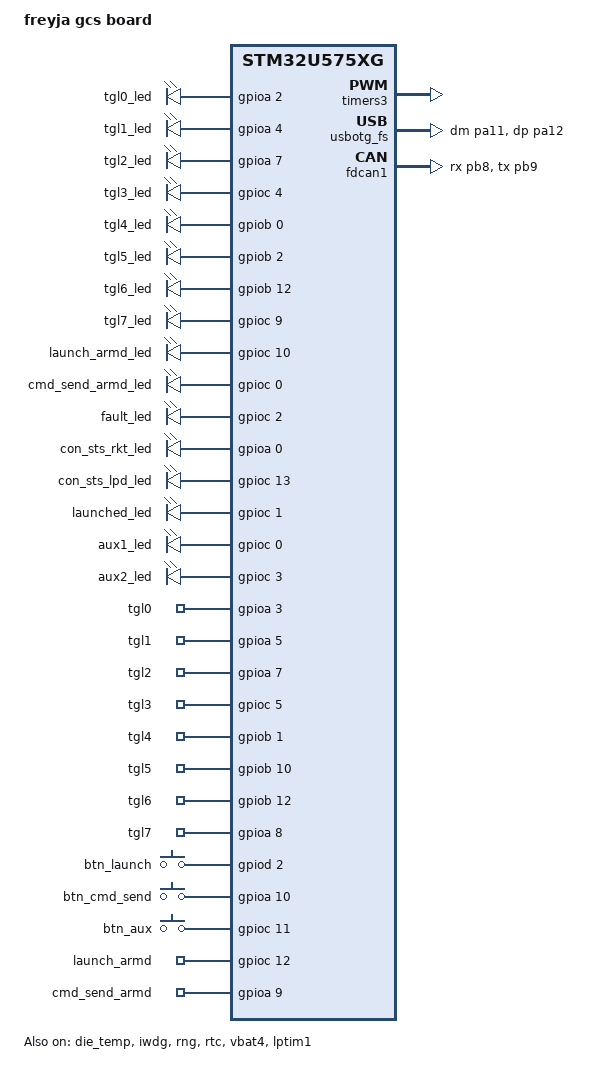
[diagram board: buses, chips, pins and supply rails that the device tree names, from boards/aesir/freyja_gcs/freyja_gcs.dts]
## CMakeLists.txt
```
cmake_minimum_required(VERSION 3.22)

set(BOARD_ROOT ${CMAKE_CURRENT_LIST_DIR})
set(BOARD freyja_gcs)

find_package(Zephyr)

project(freyja_gcs_fw)

target_sources(app PRIVATE 
    src/main.c
    src/usb_com.c
    src/can_com.c
)
```

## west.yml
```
manifest:
  remotes:
    - name: zephyrproject
      url-base: https://github.com/zephyrproject-rtos

  projects:
    - name: zephyr
      remote: zephyrproject
      revision: v4.2.0
      path: ext/zephyr
      west-commands: scripts/west-commands.yml

    - name: cmsis
      remote: zephyrproject
      revision: 512cc7e895e8491696b61f7ba8066b4a182569b8
      path: ext/zephyr/modules/hal/cmsis
    - name: cmsis_6
      remote: zephyrproject
      repo-path: CMSIS_6
      revision: 06d952b6713a2ca41c9224a62075e4059402a151
      path: ext/zephyr/modules/hal/cmsis_6

    - name: hal_stm32
      remote: zephyrproject
      revision: 1e753266ddfb4b07a8a0b1ec566e9637ea45d5ef
      path: ext/zephyr/modules/hal/stm32

  self:
    path: .
    
```

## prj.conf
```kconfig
CONFIG_SERIAL=y
CONFIG_CONSOLE=y
CONFIG_UART_CONSOLE=y
CONFIG_UART_LINE_CTRL=y

CONFIG_LOG=y
CONFIG_LOG_MODE_DEFERRED=y
CONFIG_LOG_PROCESS_TRIGGER_THRESHOLD=1
CONFIG_LOG_BUFFER_SIZE=4096

# Enable USB CDC console
CONFIG_USB_DEVICE_STACK=y
CONFIG_USB_DEVICE_PRODUCT="freyja gcs"
CONFIG_USB_DEVICE_VID=0x6969
CONFIG_USB_DEVICE_PID=0x6969
CONFIG_USB_CDC_ACM=y
CONFIG_USB_DEVICE_INITIALIZE_AT_BOOT=y
CONFIG_USB_CDC_ACM_LOG_LEVEL_DBG=y

CONFIG_CAN=y
CONFIG_CAN_FD_MODE=y

CONFIG_RTC=y
CONFIG_RTC_STM32=y

CONFIG_TEST_RANDOM_GENERATOR=y
```

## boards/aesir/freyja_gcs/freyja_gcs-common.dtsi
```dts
/*
 * Copyright (c) 2021 Linaro Limited
 * Copyright (c) 2024 STMicroelectronics
 *
 * SPDX-License-Identifier: Apache-2.0
 */

#include <st/u5/stm32u575Xi.dtsi>
#include <st/u5/stm32u575zitxq-pinctrl.dtsi>
#include <zephyr/dt-bindings/input/input-event-codes.h>

/ {
	leds: leds {
		compatible = "gpio-leds";

		green_led_1: led_1 {
			gpios = <&gpioc 7 GPIO_ACTIVE_HIGH>;
			label = "User LD1";
		};

		blue_led_1: led_2 {
			gpios = <&gpiob 7 GPIO_ACTIVE_HIGH>;
			label = "User LD2";
		};

		red_led_1: led_3 {
			gpios = <&gpiog 2 GPIO_ACTIVE_HIGH>;
			label = "User LD3";
		};
	};

	gpio_keys {
		compatible = "gpio-keys";

		user_button: button {
			label = "User";
			gpios = <&gpioc 13 GPIO_ACTIVE_HIGH>;
			zephyr,code = <INPUT_KEY_0>;
		};
	};

	pwmleds: pwmleds {
		compatible = "pwm-leds";
		status = "disabled";

		pwm_led_1: green_led_1 {
			pwms = <&pwm3 2 PWM_MSEC(20) PWM_POLARITY_NORMAL>;
			label = "green led";
		};

		pwm_led_2: blue_led_1 {
			pwms = <&pwm4 2 PWM_MSEC(20) PWM_POLARITY_NORMAL>;
			label = "blue led";
		};
	};
};

&clk_hsi48 {
	status = "okay";
};

&clk_lse {
	status = "okay";
};

&clk_msis {
	status = "okay";
	msi-range = <4>;
	msi-pll-mode;
};

&pll1 {
	div-m = <1>;
	mul-n = <80>;
	div-q = <2>;
	div-r = <2>;
	clocks = <&clk_msis>;
	status = "okay";
};

&rcc {
	clocks = <&pll1>;
	clock-frequency = <DT_FREQ_M(160)>;
	ahb-prescaler = <1>;
	apb1-prescaler = <1>;
	apb2-prescaler = <1>;
	apb3-prescaler = <1>;
};

&lpuart1 {
	pinctrl-0 = <&lpuart1_tx_pg7 &lpuart1_rx_pg8>;
	pinctrl-names = "default";
	current-speed = <115200>;
	status = "okay";
};

&usart2 {
	pinctrl-0 = <&usart2_tx_pd5 &usart2_rx_pd6>;
	pinctrl-names = "default";
	current-speed = <115200>;
	status = "okay";
};

&i2c1 {
	pinctrl-0 = <&i2c1_scl_pb8 &i2c1_sda_pb9>;
	pinctrl-names = "default";
	status = "okay";
	clock-frequency = <I2C_BITRATE_FAST>;
};

&i2c2 {
	pinctrl-0 = <&i2c2_scl_pf1 &i2c2_sda_pf0>;
	pinctrl-names = "default";
	status = "okay";
	clock-frequency = <I2C_BITRATE_FAST>;
};

&spi1 {
	pinctrl-0 = <&spi1_nss_pa4 &spi1_sck_pa5
		     &spi1_miso_pa6 &spi1_mosi_pa7>;
	pinctrl-names = "default";
	status = "okay";
};

&dac1 {
	/* CAUTION: DAC on PA4 may conflict with SPI1 NSS on same pin */
	pinctrl-0 = <&dac1_out1_pa4>;
	pinctrl-names = "default";
	status = "okay";
};

&adc1 {
	pinctrl-0 = <&adc1_in1_pc0>;
	pinctrl-names = "default";
	st,adc-clock-source = "ASYNC";
	st,adc-prescaler = <4>;
	status = "okay";
};

&adc4 {
	pinctrl-0 = <&adc4_in18_pb0>;
	pinctrl-names = "default";
	st,adc-clock-source = "ASYNC";
	st,adc-prescaler = <4>;
	status = "okay";
};

&timers3 {
	st,prescaler = <10000>;
	status = "okay";

	pwm3: pwm {
		pinctrl-0 = <&tim3_ch2_pc7>;
		pinctrl-names = "default";
		status = "okay";
	};
};

&timers4 {
	st,prescaler = <10000>;
	status = "okay";

	pwm4: pwm {
		pinctrl-0 = <&tim4_ch2_pb7>;
		pinctrl-names = "default";
		status = "okay";
	};
};

&iwdg {
	status = "okay";
};

&rng {
	status = "okay";
};

zephyr_udc0: &usbotg_fs {
	pinctrl-0 = <&usb_otg_fs_dm_pa11 &usb_otg_fs_dp_pa12>;
	pinctrl-names = "default";
	status = "okay";
};

&fdcan1 {
	clocks = <&rcc STM32_CLOCK_BUS_APB1_2 0x00000200>,
		 <&rcc STM32_SRC_PLL1_Q FDCAN1_SEL(1)>;
	pinctrl-0 = <&fdcan1_rx_pd0 &fdcan1_tx_pd1>;
	pinctrl-names = "default";
	status = "okay";
};

&rtc {
	clocks = <&rcc STM32_CLOCK_BUS_APB3 0x00200000>,
		 <&rcc STM32_SRC_LSE RTC_SEL(1)>;
	status = "okay";
};

&vref1 {
	status = "okay";
};

&vbat4 {
	status = "okay";
};

&clk_lsi {
	status = "okay";
};

stm32_lp_tick_source: &lptim1 {
	clocks = <&rcc STM32_CLOCK_BUS_APB3 0x00000800>,
		 <&rcc STM32_SRC_LSI LPTIM1_SEL(1)>;
	status = "okay";
};
```

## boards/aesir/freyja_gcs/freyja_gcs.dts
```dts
/*
 * Copyright (c) 2021 Linaro Limited
 *
 * SPDX-License-Identifier: Apache-2.0
*/

/dts-v1/;
#include <st/u5/stm32u575Xg.dtsi>
#include <st/u5/stm32u575rgtx-pinctrl.dtsi>
#include <zephyr/dt-bindings/input/input-event-codes.h>

/ {
	model = "freyja gcs board";

	chosen {
		zephyr,sram = &sram0;
		zephyr,flash = &flash0;
		zephyr,canbus = &fdcan1;
        zephyr,console = &cdc_acm_uart1;
        zephyr,shell-uart = &cdc_acm_uart1;
	};

	leds: leds {
		compatible = "gpio-leds";

		tgl0_led: tgl0_led {
			gpios = <&gpioa 2 GPIO_ACTIVE_HIGH>;
		};
		tgl1_led: tgl1_led {
			gpios = <&gpioa 4 GPIO_ACTIVE_HIGH>;
		};
		tgl2_led: tgl2_led {
			gpios = <&gpioa 7 GPIO_ACTIVE_HIGH>;
		};
		tgl3_led: tgl3_led {
			gpios = <&gpioc 4 GPIO_ACTIVE_HIGH>;
		};
		tgl4_led: tgl4_led {
			gpios = <&gpiob 0 GPIO_ACTIVE_HIGH>;
		};
		tgl5_led: tgl5_led {
			gpios = <&gpiob 2 GPIO_ACTIVE_HIGH>;
		};
		tgl6_led: tgl6_led {
			gpios = <&gpiob 12 GPIO_ACTIVE_HIGH>;
		};
		tgl7_led: tgl7_led {
			gpios = <&gpioc 9 GPIO_ACTIVE_HIGH>;
		};

		launch_armd_led: launch_armd_led {
			gpios = <&gpioc 10 GPIO_ACTIVE_HIGH>;
		};
		cmd_send_armd_led: cmd_send_armd_led {
			gpios = <&gpioc 0 GPIO_ACTIVE_HIGH>;
		};
		fault_led: fault_led {
			gpios = <&gpioc 2 GPIO_ACTIVE_HIGH>;
		};
		con_sts_rkt_led: con_sts_rkt_led {
			gpios = <&gpioa 0 GPIO_ACTIVE_HIGH>;
		};
		con_sts_lpd_led: con_sts_lpd_led {
			gpios = <&gpioc 13 GPIO_ACTIVE_HIGH>;
		};
		launched_led: launched_led {
			gpios = <&gpioc 1 GPIO_ACTIVE_HIGH>;
		};
		aux1_led: aux1_led {
			gpios = <&gpioc 0 GPIO_ACTIVE_HIGH>;
		};
		aux2_led: aux2_led {
			gpios = <&gpioc 3 GPIO_ACTIVE_HIGH>;
		};
	};

	buttons: buttons {
		compatible = "gpio-keys";

		tgl0: tgl0 {
			gpios = <&gpioa 3 GPIO_ACTIVE_HIGH>;
		};
		tgl1: tgl1 {
			gpios = <&gpioa 5 GPIO_ACTIVE_HIGH>;
		};
		tgl2: tgl2 {
			gpios = <&gpioa 7 GPIO_ACTIVE_HIGH>;
		};
		tgl3: tgl3 {
			gpios = <&gpioc 5 GPIO_ACTIVE_HIGH>;
		};
		tgl4: tgl4 {
			gpios = <&gpiob 1 GPIO_ACTIVE_HIGH>;
		};
		tgl5: tgl5 {
			gpios = <&gpiob 10 GPIO_ACTIVE_HIGH>;
		};
		tgl6: tgl6 {
			gpios = <&gpiob 12 GPIO_ACTIVE_HIGH>;
		};
		tgl7: tgl7 {
			gpios = <&gpioa 8 GPIO_ACTIVE_HIGH>;
		};

		btn_launch: btn_launch {
			gpios = <&gpiod 2 GPIO_ACTIVE_HIGH>;
		};
		btn_cmd_send: btn_cmd_send {
			gpios = <&gpioa 10 GPIO_ACTIVE_HIGH>;
		};
		btn_aux: btn_aux {
			gpios = <&gpioc 11 GPIO_ACTIVE_HIGH>;
		};

		launch_armd: launch_armd {
			gpios = <&gpioc 12 GPIO_ACTIVE_HIGH>;
		};
		cmd_send_armd: cmd_send_armd {
			gpios = <&gpioa 9 GPIO_ACTIVE_HIGH>;
		};
	};
};

&die_temp {
	status = "okay";
};

&clk_hsi48 {
	status = "okay";
};

&clk_lse {
	status = "okay";
};

&clk_msis {
	status = "okay";
	msi-range = <4>;
	msi-pll-mode;
};

&pll1 {
	div-m = <1>;
	mul-n = <80>;
	div-q = <2>;
	div-r = <2>;
	clocks = <&clk_msis>;
	status = "okay";
};

&rcc {
	clocks = <&pll1>;
	clock-frequency = <DT_FREQ_M(160)>;
	ahb-prescaler = <1>;
	apb1-prescaler = <1>;
	apb2-prescaler = <1>;
	apb3-prescaler = <1>;
};

&timers3 {
	st,prescaler = <10000>;
	status = "okay";

	fan_pwm: pwm {
		pinctrl-0 = <&tim2_ch1_pa15>;
		pinctrl-names = "default";
		status = "okay";
	};
};

&iwdg {
	status = "okay";
};

&rng {
	status = "okay";
};

zephyr_udc0: &usbotg_fs {
	pinctrl-0 = <&usb_otg_fs_dm_pa11 &usb_otg_fs_dp_pa12>;
	pinctrl-names = "default";
	status = "okay";
};

&fdcan1 {
	clocks = <&rcc STM32_CLOCK_BUS_APB1_2 0x00000200>,
		 <&rcc STM32_SRC_PLL1_Q FDCAN1_SEL(1)>;
	pinctrl-0 = <&fdcan1_rx_pb8 &fdcan1_tx_pb9>;
	pinctrl-names = "default";
	status = "okay";
};

&rtc {
	clocks = <&rcc STM32_CLOCK(APB3, 21)>,
		 <&rcc STM32_SRC_LSE RTC_SEL(2)>;
	status = "okay";
};

&vbat4 {
	status = "okay";
};

stm32_lp_tick_source: &lptim1 {
	clocks = <&rcc STM32_CLOCK_BUS_APB3 0x00000800>,
		 <&rcc STM32_SRC_LSI LPTIM1_SEL(1)>;
	status = "okay";
};

&zephyr_udc0 {
    cdc_acm_uart0: cdc_acm_uart0 {
        compatible = "zephyr,cdc-acm-uart";
    };
	cdc_acm_uart1: cdc_acm_uart1 {
		compatible = "zephyr,cdc-acm-uart";
	};
};
```

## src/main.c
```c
#include <zephyr/kernel.h>
#include <zephyr/drivers/gpio.h>
#include <zephyr/drivers/uart.h>
#include <zephyr/logging/log.h>

#include "can_com.h"
#include "clock.h"
#include "usb_com.h"
#include "protocol.h"

LOG_MODULE_REGISTER(main);

const struct device *cdc_acm = DEVICE_DT_GET(DT_NODELABEL(cdc_acm_uart0));

static const struct gpio_dt_spec led_0 = GPIO_DT_SPEC_GET(DT_NODELABEL(tgl0_led), gpios);
static const struct gpio_dt_spec tgl_0 = GPIO_DT_SPEC_GET(DT_NODELABEL(tgl0), gpios);
static const struct gpio_dt_spec led_1 = GPIO_DT_SPEC_GET(DT_NODELABEL(tgl1_led), gpios);
static const struct gpio_dt_spec tgl_1 = GPIO_DT_SPEC_GET(DT_NODELABEL(tgl1), gpios);
static const struct gpio_dt_spec launch_btn = GPIO_DT_SPEC_GET(DT_NODELABEL(btn_launch), gpios);
static const struct gpio_dt_spec btn_arm = GPIO_DT_SPEC_GET(DT_NODELABEL(launch_armd), gpios);

int main(void) {
	int ret;
	int64_t timestamp;

	if (init_usb() < 0) {
		LOG_ERR("could not init usb");
		return 0;
	}

	if (init_can() < 0) {
		LOG_ERR("could not init can");
		return 0;
	}

	if (init_clock() < 0) {
		LOG_ERR("could not init clock");
		return 0;
	}

	if (!gpio_is_ready_dt(&led_0) || !gpio_is_ready_dt(&tgl_0) || !gpio_is_ready_dt(&led_1) ||  !gpio_is_ready_dt(&tgl_1) || !gpio_is_ready_dt(&launch_btn) || !gpio_is_ready_dt(&btn_arm)) {
		return 0;
	}

	// LED pin in
	ret = gpio_pin_configure_dt(&tgl_0, GPIO_INPUT);
	if (ret < 0) {
		LOG_ERR("Failed to configure LED pin 0 in");
		return 0;
	}
	ret = gpio_pin_configure_dt(&tgl_1, GPIO_INPUT);
	if (ret < 0) {
		LOG_ERR("Failed to configure LED pin 1 in");
		return 0;
	}

	// LED pin out
	ret = gpio_pin_configure_dt(&led_0, GPIO_OUTPUT);
	if (ret < 0) {
		LOG_ERR("Failed to configure LED pin 0 out");
		return 0;
	}
	ret = gpio_pin_configure_dt(&led_1, GPIO_OUTPUT);
	if (ret < 0) {
		LOG_ERR("Failed to configure LED pin 1 out");
		return 0;
	}

    ret = gpio_pin_configure_dt(&launch_btn, GPIO_INPUT);
    if (ret) {
        LOG_ERR("Failed to configure launch_btn %d", ret);
        return 0;
    }

    ret = gpio_pin_configure_dt(&btn_arm, GPIO_INPUT);
    if (ret) {
        LOG_ERR("Failed to configure btn_arm %d", ret);
        return 0;
    }
	
	LOG_INF("Started");

	while (1) {
		get_timestamp(&timestamp);

        int val_armd = gpio_pin_get_dt(&btn_arm);
		int val_launch = gpio_pin_get_dt(&launch_btn);
		int val_led_0 = gpio_pin_get_dt(&led_0);
		int val_tgl_0 = gpio_pin_get_dt(&tgl_0);
		int val_led_1 = gpio_pin_get_dt(&led_1);
		int val_tgl_1 = gpio_pin_get_dt(&tgl_1);

		const armd_pkt_t armd_pkt = {val_armd};
		const launch_pkt_t launch_pkt = {val_launch};
		const gcs_test_mode_pkt_t gcs_test_mode_pkt = {val_tgl_1};

		if (val_tgl_0 < 0 && val_tgl_0) {
			LOG_ERR("Failed to read LED toggle pin 0");
		} else {
			LOG_INF("led_0 = %d", val_led_0);
			LOG_INF("tgl_0 = %d", val_tgl_0);
		}
		if (val_tgl_1 < 0 && val_tgl_1) {
			LOG_ERR("Failed to read LED toggle pin 1");
		} else {
			LOG_INF("led_1 = %d", val_led_1);
			LOG_INF("tgl_1 = %d", val_tgl_1);
			int64_t timestamp;
    		int ret = get_timestamp(&timestamp);
			submit_usb_pkt(&gcs_test_mode_pkt, PKT_TYPE_GCS_TEST_MODE, timestamp);
		}
		
		if (val_tgl_1 < 0 && val_tgl_1) {
			LOG_ERR("Failed to read LED toggle pin 1");
		} else {
			const fafnir_pkt_t fafnir_pkt = {
			float_randomizer(0.0f, 20.0f),
				1,
				0,
				1,
				1
			};
			submit_can_pkt(&fafnir_pkt, PKT_TYPE_FAFNIR);
		}

        if (val_launch < 0 || val_armd < 0) {
			LOG_ERR("Failed to read pins");
        } else {
			LOG_INF("launch_btn = %d, btn_arm = %d", val_launch, val_armd);
			submit_can_pkt(&armd_pkt, PKT_TYPE_ARMD);
			submit_can_pkt(&launch_pkt, PKT_TYPE_LAUNCH);
        }
		k_msleep(50);
	}
	return 0;
}
```

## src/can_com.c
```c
#include <zephyr/drivers/can.h>
#include <zephyr/kernel.h>
#include <zephyr/logging/log.h>
#include <zephyr/sys/util.h>
#include <errno.h>

#include "clock.h"
#include "protocol.h"
#include "usb_com.h"

LOG_MODULE_REGISTER(can_com);

K_MSGQ_DEFINE(can_tx_queue,
              sizeof(struct can_frame),
              8,            /* queue length (frames) */
              1);            /* alignment */
K_SEM_DEFINE(can_tx_done, 1, 1);

const struct device *const can_dev = DEVICE_DT_GET(DT_NODELABEL(fdcan1));

/*
const struct can_filter filter = {
    .flags = 0,
    .id = 0x700,
    .mask = 0b11110000000 // match from 0x700 to 0x77F
};
*/
const struct can_filter filter = {
    .flags = 0,
    .id = 0,    
    .mask = 0   
};

void can_rx_cb(const struct device *const device, struct can_frame *frame, void *user_data) {
    LOG_INF("CAN RX: ID 0x%03X | Data: %02x %02x %02x %02x", 
            frame->id, frame->data[0], frame->data[1], frame->data[2], frame->data[3]);

    if (frame->id < 0x700 || frame->id > 0x77F) {
        return;
    } else {
        LOG_DBG("rx: %#X", frame->id);
    
        int pkt_type = frame->id - 0x700;
    
        if (frame->dlc != pkt_size[pkt_type]) {
            LOG_ERR("received packet %#x has length %d but should be length %d", pkt_type, frame->dlc, pkt_size[pkt_type]);
        }
    
        int64_t timestamp;
        int ret = get_timestamp(&timestamp);
        if (ret) {
            LOG_ERR("could not get timestamp for can packet");
            timestamp = -1;
        }
        submit_usb_pkt(frame->data, pkt_type, timestamp);
    }
}

void can_tx_cb(const struct device *device, int error, void *user_data) {
    k_sem_give(&can_tx_done);
    if (error) {
        LOG_ERR("can send callback error %d", error);
    }
}

int submit_can_pkt(const void *packet, unsigned int type) {
    const int length = pkt_size[type];
    struct can_frame frame = {
            .flags = 0,
            .id = type + 0x700,
            .dlc = length,
    };
    memcpy(frame.data, packet, length);
    int ret = k_msgq_put(&can_tx_queue, &frame, K_NO_WAIT);
    if (ret == -EAGAIN) {
        LOG_ERR("can tx queue full");
    }
    return 0;
}

void can_thread_fn(void) {
    int ret;
    struct can_frame frame;

    while (1) {
        ret = k_msgq_get(&can_tx_queue, &frame, K_FOREVER);
        if (ret == -ENOMSG) { // queue purged during wait
            continue; 
        }

        // wait until previous frame is sent
        k_sem_take(&can_tx_done, K_MSEC(200));

        LOG_INF("sending can message 0x%02X", frame.id);

        // send frame (blocking until mailbox is available)
        ret = can_send(can_dev, &frame,
                           K_MSEC(100),
                            can_tx_cb,
                           NULL);

        if (ret) { // callback not called
            LOG_ERR("can send error %d", ret);
            k_sem_give(&can_tx_done);
        }
    }
}

K_THREAD_DEFINE(can_thread,
                1024,
                can_thread_fn,
                NULL, NULL, NULL,
                1, // priority
                0,
                -1); // do not start

int init_can(void) {
    int ret;
 
    if (!device_is_ready(can_dev)) {
        LOG_ERR("CAN device not ready");
        return -1;
    }
    
    ret = can_add_rx_filter(can_dev, can_rx_cb, NULL, &filter);
    if (ret) {
        LOG_ERR("adding can filter failed: %d", ret);
    } else {
        LOG_INF("adding can filter success");
    }

    ret = can_set_bitrate(can_dev, 500000); // 500 kb/s
    if (ret) {
        LOG_ERR("failed to set CAN nominal bitrate: [%d]", ret);
        return -1;
    } else {
        LOG_INF("CAN nominal bitrate successfully set to 500kb/s");
    }

    ret = can_set_bitrate_data(can_dev, 500000); // 500 kb/s
    if (ret) {
        LOG_ERR("failed to set CAN bitrate: [%d]", ret);
        return -1;
    } else {
        LOG_INF("CAN bitrate successfully set to 500kb/s");
    }

    ret = can_start(can_dev);
    if (ret) {
        LOG_ERR("failed to start CAN: %d", ret);
        return -1;
    } else{
        LOG_INF("CAN started");
    }

    k_thread_start(can_thread);

    return 0;
}
```

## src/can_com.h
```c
#pragma once

int init_can(void);
```

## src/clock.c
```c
#include <zephyr/drivers/rtc.h>
#include <zephyr/logging/log.h>
#include <zephyr/sys/timeutil.h>

LOG_MODULE_REGISTER(clock);

const struct device *rtc_dev = DEVICE_DT_GET(DT_NODELABEL(rtc));

int get_timestamp(int64_t *timestamp) {
	static struct rtc_time rtc_timestamp;

    int ret = rtc_get_time(rtc_dev, &rtc_timestamp);
	if (ret) {
		LOG_ERR("could not get timestamp. error %d", ret);
		return ret;
	}

	*timestamp = (timeutil_timegm64(rtc_time_to_tm(&rtc_timestamp)) * 1000) + (rtc_timestamp.tm_nsec / 1000000);
	return 0;
}

int init_clock(void) {
    int ret;

    if (!device_is_ready(rtc_dev)) {
		LOG_ERR("could not init rtc");
		return 0;
	}

	// set placeholder time if time has been lost
	struct rtc_time time;
	if (rtc_get_time(rtc_dev, &time) != 0) {
		struct rtc_time new_time = { 
			.tm_year=2025 - 1900,
			.tm_mon=1,
			.tm_mday=1,
			.tm_hour=0, 
			.tm_min=0, 
			.tm_sec=0 
		};
		ret = rtc_set_time(rtc_dev, &new_time);
		if (ret) {
			LOG_ERR("rtc time set error %d", ret);
			return 0;
		}
	}
	ret = rtc_get_time(rtc_dev, &time);
	if (ret) {
		LOG_ERR("rtc time get err %d", ret);
		return -1;
	}
	LOG_INF("Current time: %d/%d-%04d %02d:%02d:%02d.03%d",
				time.tm_mday, time.tm_mon, time.tm_year + 1900,
				time.tm_hour, time.tm_min, time.tm_sec, time.tm_nsec / 1000000);

    return 0;
}
```

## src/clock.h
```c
#pragma once

int get_timestamp(int64_t *timestamp);

int init_clock(void);
```

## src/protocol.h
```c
#pragma once

#include <stdint.h>
#include <stdbool.h>

typedef enum {
    STATE_IDLE,
    STATE_AWAITING_INIT,
    STATE_INITIATED,
    STATE_AWAITING_LAUNCH,
    STATE_BOOST,
    STATE_COAST,
    STATE_DROGUE_DESCENT,
    STATE_MAIN_DESCENT,
    STATE_LANDED,
} fjalar_flight_state_t;

typedef enum {
    STATE_LOKI_STARTUP = 1,
    STATE_LOKI_READY,
    STATE_LOKI_ARMED,
    STATE_LOKI_ERROR_TEMP,
    STATE_LOKI_ERROR_PERM,
    STATE_LOKI_WARN_EXT,
} loki_state_t;

typedef enum {
    SUB_STATE_IDLE,
    SUB_STATE_ENGAGE,
    SUB_STATE_DISENGAGE,
} loki_substate_t;

typedef struct gcs_test_mode_pkt {
    bool test_mode;
} gcs_test_mode_pkt_t;

typedef struct armd_pkt {
    bool armd;
} armd_pkt_t;

typedef struct launch_pkt {
    bool launch;
} launch_pkt_t;

typedef struct launch_seq_pkt {
    uint8_t launch_seq;
} launch_seq_pkt_t;

typedef struct state_pkt {
    uint8_t fjalar_flight_state;
    uint8_t loki_state;
    uint8_t loki_substate;
    bool drogue_deployed;
    bool main_line_cut;
    bool gnss_fixed;
} state_pkt_t;

typedef struct fafnir_pkt {
    float main_valve_percantage;
    bool solenoid_1;
    bool solenoid_2;
    bool solenoid_3;
    bool solenoid_4;
} fafnir_pkt_t;

typedef struct thrust_pkt {
    float thrust;
} thrust_pkt_t;

typedef struct airbrake_pkt {
    bool airbrake_safety;
    float airbrake_percantage;
} airbrake_pkt_t;

typedef struct pyro_pkt {
    bool pyro1_connected;
    bool pyro2_connected;
    bool pyro3_connected;
} pyro_pkt_t;

typedef struct acc_pkt_1 {
    float ax;
    float ay;
} acc_pkt_1_t;

typedef struct acc_pkt_2 {
    float az;
} acc_pkt_2_t;

typedef struct vel_pkt_1 {
    float vx;
    float vy;
} vel_pkt_1_t;

typedef struct vel_pkt_2 {
    float vz;
} vel_pkt_2_t;

typedef struct coords_pkt {
    float longitude;
    float latitude;
} coords_pkt_t;

typedef struct altitude_pkt {
    float altitude;
} altitude_pkt_t;

typedef struct sigurd_temp_pkt_1 {
    float temp_1;
    float temp_2;
} sigurd_temp_pkt_1_t;

typedef struct sigurd_temp_pkt_2 {
    float temp_3;
    float temp_4;
} sigurd_temp_pkt_2_t;

typedef struct bat_pkt {
    float fjalar_bat_volts;
    float loki_bat_volts;
} bat_pkt_t;

typedef enum {
    // gcs (board) -> gcs (RaspPi)
    PKT_TYPE_GCS_TEST_MODE = 0x00,
    // gcs -> fjalar
    PKT_TYPE_ARMD,
    PKT_TYPE_LAUNCH,
    PKT_TYPE_LAUNCH_SEQ,
    // fjalar -> gcs
    PKT_TYPE_STATE = 0x20,
    PKT_TYPE_FAFNIR,
    PKT_TYPE_THRUST,
    PKT_TYPE_AIRBRAKE,
    PKT_TYPE_PYRO,
    PKT_TYPE_ACC_1,
    PKT_TYPE_ACC_2,
    PKT_TYPE_VEL_1,
    PKT_TYPE_VEL_2,
    PKT_TYPE_COORDS,
    PKT_TYPE_ALTITUDE,
    PKT_TYPE_SIGURD_TEMP_1,
    PKT_TYPE_SIGURD_TEMP_2,
    PKT_TYPE_BAT,
    PKT_COUNT,
} pkt_type_t;

static const size_t pkt_size[PKT_COUNT] = {
    [PKT_TYPE_GCS_TEST_MODE] = sizeof(gcs_test_mode_pkt_t),
    [PKT_TYPE_ARMD] = sizeof(armd_pkt_t),
    [PKT_TYPE_LAUNCH] = sizeof(launch_pkt_t),
    [PKT_TYPE_LAUNCH_SEQ] = sizeof(launch_seq_pkt_t),
    [PKT_TYPE_STATE] = sizeof(state_pkt_t),
    [PKT_TYPE_FAFNIR] = sizeof(fafnir_pkt_t),
    [PKT_TYPE_THRUST] = sizeof(thrust_pkt_t),
    [PKT_TYPE_AIRBRAKE] = sizeof(airbrake_pkt_t),
    [PKT_TYPE_PYRO] = sizeof(pyro_pkt_t),
    [PKT_TYPE_ACC_1] = sizeof(acc_pkt_1_t),
    [PKT_TYPE_ACC_2] = sizeof(acc_pkt_2_t),
    [PKT_TYPE_VEL_1] = sizeof(vel_pkt_1_t),
    [PKT_TYPE_VEL_2] = sizeof(vel_pkt_2_t),
    [PKT_TYPE_COORDS] = sizeof(coords_pkt_t),
    [PKT_TYPE_ALTITUDE] = sizeof(altitude_pkt_t),
    [PKT_TYPE_SIGURD_TEMP_1] = sizeof(sigurd_temp_pkt_1_t),
    [PKT_TYPE_SIGURD_TEMP_2] = sizeof(sigurd_temp_pkt_2_t),
    [PKT_TYPE_BAT] = sizeof(bat_pkt_t),
};
```

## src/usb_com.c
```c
#include <zephyr/drivers/uart.h>
#include <zephyr/logging/log.h>
#include <zephyr/sys/util.h>
#include "protocol.h"

LOG_MODULE_REGISTER(cdc_com);

#define TX_BUF_LEN 12 // 2 header bytes, 1 byte packet type, 1 length, CAN packet max length of 8 
#define PKT_HEADER (uint8_t[]){0xAA, 0xAA}

static const struct device *const usb_uart = DEVICE_DT_GET(DT_NODELABEL(cdc_acm_uart0));


void submit_usb_pkt(const void *packet, unsigned int type) {
    const int length = pkt_size[type];
    uint8_t tx_buf[TX_BUF_LEN];
    tx_buf[0] = PKT_HEADER[0];
    tx_buf[1] = PKT_HEADER[1];
    tx_buf[2] = type;
    tx_buf[3] = length;
    memcpy(tx_buf + 4, packet, length);
    for (const char *p = (const char *)tx_buf; p < (const char *)tx_buf + 4 + length; ++p) {
        uart_poll_out(usb_uart, *p);
    }
}

int init_usb(void) {
    if (!device_is_ready(usb_uart)) {
        return -1;
    }

    return 0;
}
```

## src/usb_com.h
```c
#pragma once

void submit_usb_pkt(const void *packet, unsigned int type);

int init_usb(void);
```
